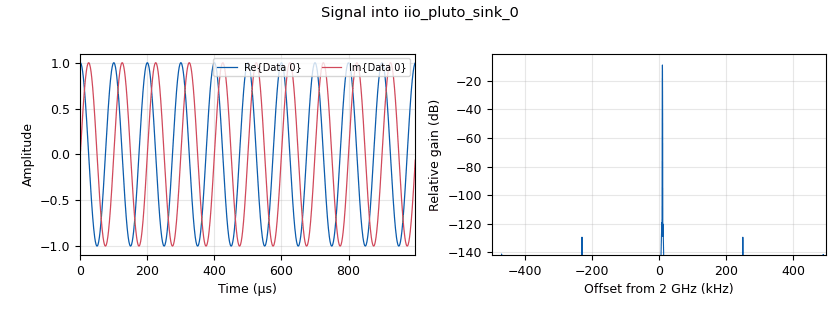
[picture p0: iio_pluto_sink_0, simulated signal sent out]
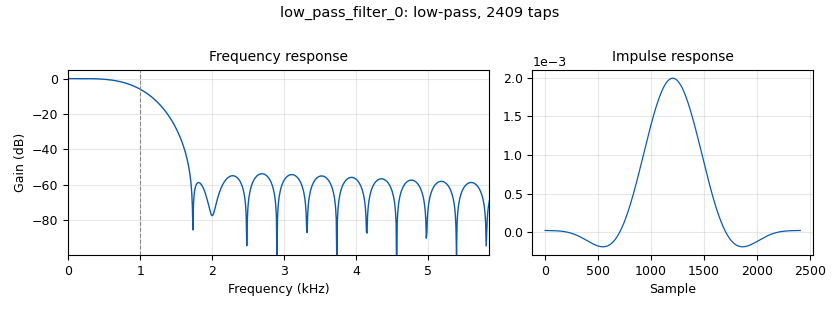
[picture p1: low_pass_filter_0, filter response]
options:
  parameters:
    description: Provides graphical instrumentation for both tx and rx signals, processes radar algrithms and outputs the data to a network port
    generate_options: qt_gui
    id: RADAR_TX_INSTRUMENTATION
    output_language: python
    title: KAN-DAR RADAR TX/RX INSTRUMENTATION SERVER
  states: {}

blocks:
- name: C
  id: variable
  parameters:
    value: '299792458'
  states: {}
- name: WL
  id: variable
  parameters:
    value: C/samp_rate
  states: {}
- name: decim
  id: variable
  parameters:
    value: 512*4
  states: {}
- name: fft_size
  id: variable
  parameters:
    value: '1024'
  states: {}
- name: gain
  id: variable_qtgui_range
  parameters:
    start: '0'
    step: '1'
    stop: '62'
    value: '30'
  states: {}
- name: lo
  id: variable_qtgui_range
  parameters:
    label: lo freq
    start: '10000000'
    step: '100000'
    stop: '6000000000'
    value: '2400000000'
  states: {state: disabled}
- name: lo
  id: variable
  parameters:
    value: '2000000000'
  states: {}
- name: q
  id: variable_qtgui_range
  parameters:
    label: Q
    start: '10000'
    step: '1'
    stop: '10000000'
    value: '10000'
  states: {state: disabled}
- name: q
  id: variable
  parameters:
    value: '10000'
  states: {}
- name: samp_rate
  id: variable
  parameters:
    value: '1000000'
  states: {}
- name: variable_qtgui_label_0
  id: variable_qtgui_label
  parameters:
    label: 'Pulse wavelength in meters calculated to be:'
    type: int
    value: WL
  states: {state: disabled}
- name: analog_agc_xx_0
  id: analog_agc_xx
  parameters:
    gain: '1.0'
    max_gain: '65536'
    rate: '1e-4'
    reference: '1.0'
    type: complex
  states: {}
- name: analog_agc_xx_0_0
  id: analog_agc_xx
  parameters:
    gain: '1.0'
    max_gain: '65536'
    rate: '1e-4'
    reference: '1.0'
    type: complex
  states: {}
- name: analog_sig_source_x_0
  id: analog_sig_source_x
  parameters:
    amp: '1'
    freq: 10e3
    offset: '0'
    phase: '0'
    samp_rate: samp_rate
    type: complex
    waveform: analog.GR_COS_WAVE
  states: {}
- name: blocks_complex_to_float_0
  id: blocks_complex_to_float
  parameters: {}
  states: {state: disabled}
- name: blocks_complex_to_mag_0
  id: blocks_complex_to_mag
  parameters:
    vlen: fft_size
  states: {}
- name: blocks_complex_to_real_0
  id: blocks_complex_to_real
  parameters: {}
  states: {}
- name: blocks_complex_to_real_0_0
  id: blocks_complex_to_real
  parameters: {}
  states: {}
- name: blocks_complex_to_real_0_1
  id: blocks_complex_to_real
  parameters: {}
  states: {state: disabled}
- name: blocks_file_sink_0
  id: blocks_file_sink
  parameters:
    file: C:\Python27\radar.bin
    type: complex
  states: {state: disabled}
- name: blocks_keep_one_in_n_0
  id: blocks_keep_one_in_n
  parameters:
    n: int(1e6)
    type: float
  states: {state: disabled}
- name: blocks_keep_one_in_n_1
  id: blocks_keep_one_in_n
  parameters:
    n: decim
    type: complex
  states: {state: disabled}
- name: blocks_moving_average_xx_0
  id: blocks_moving_average_xx
  parameters:
    length: '1000'
    max_iter: '4000'
    scale: '1e-3'
    type: float
  states: {state: disabled}
- name: blocks_multiply_conjugate_cc_0
  id: blocks_multiply_conjugate_cc
  parameters: {}
  states: {}
- name: blocks_stream_to_vector_0
  id: blocks_stream_to_vector
  parameters:
    num_items: fft_size
    type: complex
  states: {}
- name: blocks_throttle_0
  id: blocks_throttle
  parameters:
    samples_per_second: samp_rate
    type: complex
  states: {state: disabled}
- name: blocks_vector_to_stream_0
  id: blocks_vector_to_stream
  parameters:
    num_items: fft_size
    type: float
  states: {}
- name: fft_vxx_0_0_0
  id: fft_vxx
  parameters:
    fft_size: fft_size
    forward: 'False'
    nthreads: '8'
    shift: 'True'
    type: complex
    window: window.blackmanharris(fft_size)
  states: {}
- name: iio_pluto_sink_0
  id: iio_pluto_sink
  parameters:
    attenuation1: '0'
    bandwidth: '20000000'
    buffer_size: '32768'
    cyclic: 'False'
    filter_source: '''Auto'''
    frequency: lo
    samplerate: samp_rate
    type: fc32
    uri: ip:192.168.2.1
  states: {}
- name: iio_pluto_source_0
  id: iio_pluto_source
  parameters:
    bandwidth: '20000000'
    bbdc: 'True'
    buffer_size: '32768'
    filter_source: '''Auto'''
    frequency: lo
    gain1: '''manual'''
    manual_gain1: gain
    quadrature: 'True'
    rfdc: 'True'
    samplerate: samp_rate
    type: fc32
    uri: ip:192.168.2.1
  states: {}
- name: low_pass_filter_0
  id: low_pass_filter
  parameters:
    cutoff_freq: 1e3
    decim: decim
    gain: '1'
    samp_rate: samp_rate
    type: fir_filter_ccf
    width: 1e3
    win: window.WIN_HAMMING
  states: {}
- name: qtgui_number_sink_0_0
  id: qtgui_number_sink
  parameters:
    autoscale: 'True'
    graph_type: qtgui.NUM_GRAPH_HORIZ
    name: Multiply Conjugate
    type: float
  states: {state: disabled}
- name: qtgui_number_sink_0_0_0
  id: qtgui_number_sink
  parameters:
    autoscale: 'True'
    graph_type: qtgui.NUM_GRAPH_HORIZ
    name: Multiply Conjugate
    type: float
  states: {state: disabled}
- name: qtgui_time_raster_sink_x_0
  id: qtgui_time_raster_sink_x
  parameters:
    color1: '1'
    name: '"Mag"'
    ncols: fft_size
    nrows: '256'
    samp_rate: samp_rate
    type: float
  states: {}
- name: qtgui_time_sink_x_0
  id: qtgui_time_sink_x
  parameters:
    label1: ''
    label2: ''
    nconnections: '2'
    size: '1024'
    srate: samp_rate
    tr_mode: qtgui.TRIG_MODE_AUTO
    type: float
  states: {}
- name: qtgui_waterfall_sink_x_0
  id: qtgui_waterfall_sink_x
  parameters:
    bw: samp_rate/decim
    color1: '1'
    fc: '0'
    fftsize: fft_size
    showports: 'True'
    type: complex
  states: {}

connections:
- [analog_agc_xx_0, '0', blocks_complex_to_real_0, '0']
- [analog_agc_xx_0, '0', blocks_multiply_conjugate_cc_0, '0']
- [analog_agc_xx_0_0, '0', blocks_complex_to_real_0_0, '0']
- [analog_agc_xx_0_0, '0', blocks_multiply_conjugate_cc_0, '1']
- [analog_sig_source_x_0, '0', analog_agc_xx_0, '0']
- [analog_sig_source_x_0, '0', iio_pluto_sink_0, '0']
- [blocks_complex_to_float_0, '0', blocks_moving_average_xx_0, '0']
- [blocks_complex_to_float_0, '1', qtgui_number_sink_0_0, '0']
- [blocks_complex_to_mag_0, '0', blocks_vector_to_stream_0, '0']
- [blocks_complex_to_real_0, '0', qtgui_number_sink_0_0_0, '0']
- [blocks_complex_to_real_0, '0', qtgui_time_sink_x_0, '0']
- [blocks_complex_to_real_0_0, '0', qtgui_number_sink_0_0, '0']
- [blocks_complex_to_real_0_0, '0', qtgui_time_sink_x_0, '1']
- [blocks_complex_to_real_0_1, '0', blocks_moving_average_xx_0, '0']
- [blocks_keep_one_in_n_1, '0', blocks_stream_to_vector_0, '0']
- [blocks_keep_one_in_n_1, '0', qtgui_waterfall_sink_x_0, '0']
- [blocks_moving_average_xx_0, '0', blocks_keep_one_in_n_0, '0']
- [blocks_multiply_conjugate_cc_0, '0', blocks_complex_to_float_0, '0']
- [blocks_multiply_conjugate_cc_0, '0', blocks_complex_to_real_0_1, '0']
- [blocks_multiply_conjugate_cc_0, '0', blocks_keep_one_in_n_1, '0']
- [blocks_multiply_conjugate_cc_0, '0', blocks_throttle_0, '0']
- [blocks_multiply_conjugate_cc_0, '0', low_pass_filter_0, '0']
- [blocks_stream_to_vector_0, '0', fft_vxx_0_0_0, '0']
- [blocks_throttle_0, '0', blocks_stream_to_vector_0, '0']
- [blocks_throttle_0, '0', qtgui_waterfall_sink_x_0, '0']
- [blocks_vector_to_stream_0, '0', qtgui_time_raster_sink_x_0, '0']
- [fft_vxx_0_0_0, '0', blocks_complex_to_mag_0, '0']
- [iio_pluto_source_0, '0', analog_agc_xx_0_0, '0']
- [low_pass_filter_0, '0', blocks_file_sink_0, '0']
- [low_pass_filter_0, '0', blocks_stream_to_vector_0, '0']
- [low_pass_filter_0, '0', qtgui_waterfall_sink_x_0, '0']

metadata:
  file_format: 1
